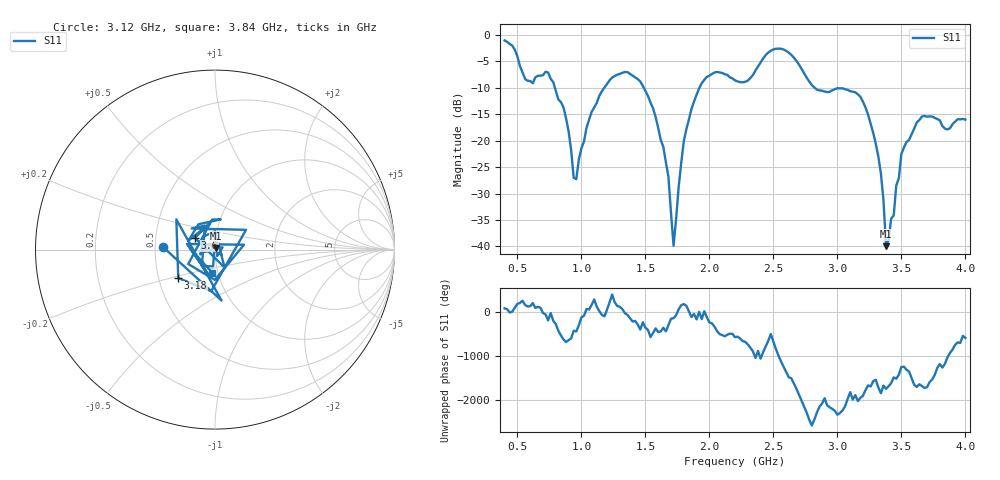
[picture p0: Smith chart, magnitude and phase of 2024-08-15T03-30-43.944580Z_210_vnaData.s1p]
!Created with skrf (http://scikit-rf.org).
# Hz S RI R 50.0
!freq ReS11 ImS11
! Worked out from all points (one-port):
!   181 points, 400 MHz to 4 GHz, reference 50 ohm
!   lowest |S11| = -40.0 dB at 3.38 GHz (marker M1), VSWR 1.02, Z = 50.5 + j0.875 ohm
!   |S11| at or under -10 dB: 792.8 MHz to 1.179 GHz (386.4 MHz wide, 39.2 % of centre); 1.487 GHz to 1.923 GHz (435.6 MHz wide, 25.6 % of centre); 2.822 GHz to end of sweep
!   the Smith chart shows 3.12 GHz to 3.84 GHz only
!   S11 on the Smith chart (normalised r, x): 3.12 GHz: 0.55, +0.02; 3.18 GHz: 0.63, -0.22; 3.6 GHz: 0.79, +0.11; 3.84 GHz: 0.94, -0.25
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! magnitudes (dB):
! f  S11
! 400 MHz  -1.1
! 560 MHz  -8.4
! 740 MHz  -7.1
! 860 MHz  -13.7
! 960 MHz  -27.3
! 1.08 GHz  -14.6
! 1.3 GHz  -7.4
! 1.56 GHz  -13.9
! 1.68 GHz  -26.9
! 1.72 GHz  -39.9
! 1.76 GHz  -28.7
! 1.82 GHz  -17.9
! 1.94 GHz  -9.2
! 2.2 GHz  -8.6
! 2.5 GHz  -2.8
! 2.66 GHz  -4.3
! 2.84 GHz  -10.4
! 3.1 GHz  -10.7
! 3.12 GHz  -10.8
! 3.18 GHz  -11.7
! 3.32 GHz  -23.0
! 3.36 GHz  -31.3
! 3.38 GHz  -40.0
! 3.5 GHz  -22.5
! 3.56 GHz  -19.9
! 3.6 GHz  -17.7
! 3.84 GHz  -17.7
! 4 GHz  -16.0
